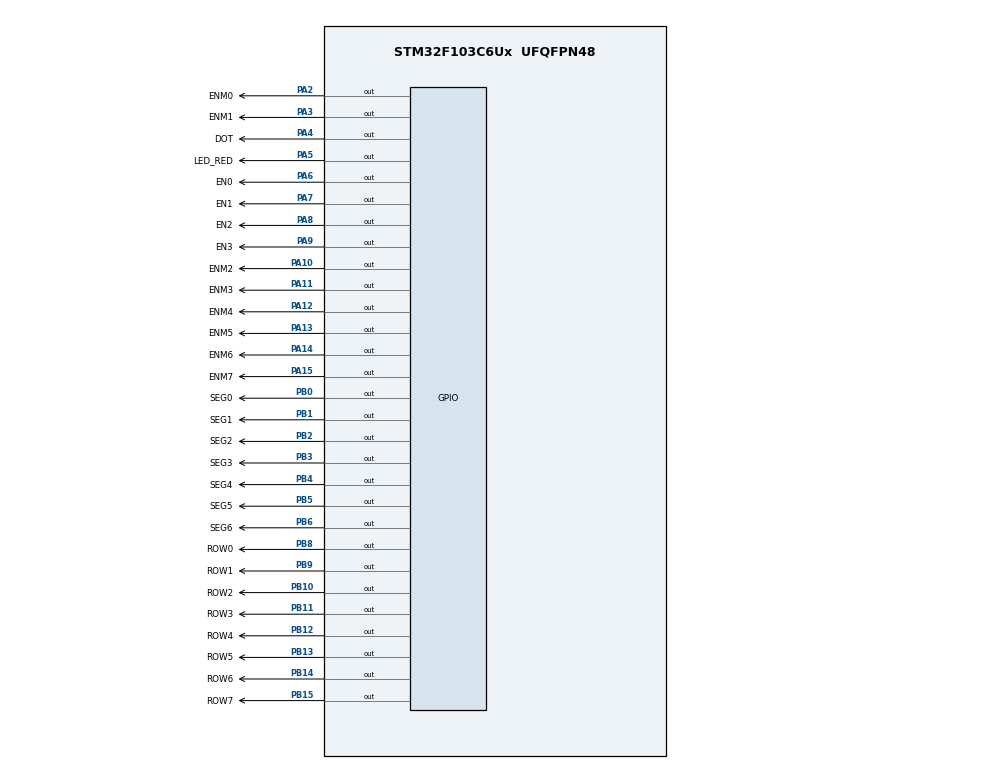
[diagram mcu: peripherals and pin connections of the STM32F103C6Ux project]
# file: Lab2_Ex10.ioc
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Mcu.Family=STM32F1
Mcu.Name=STM32F103C6Ux
Mcu.Package=UFQFPN48
NVIC.PriorityGroup=NVIC_PRIORITYGROUP_4
NVIC.TIM2_IRQn=true\:0\:0\:false\:false\:true\:true\:true
PA10.GPIO_Label=ENM2
PA10.Signal=GPIO_Output
PA11.GPIO_Label=ENM3
PA11.Signal=GPIO_Output
PA12.GPIO_Label=ENM4
PA12.Signal=GPIO_Output
PA13.GPIO_Label=ENM5
PA13.Signal=GPIO_Output
PA14.GPIO_Label=ENM6
PA14.Signal=GPIO_Output
PA15.GPIO_Label=ENM7
PA15.Signal=GPIO_Output
PA2.GPIO_Label=ENM0
PA2.Signal=GPIO_Output
PA3.GPIO_Label=ENM1
PA3.Signal=GPIO_Output
PA4.GPIO_Label=DOT
PA4.Signal=GPIO_Output
PA5.GPIO_Label=LED_RED
PA5.Signal=GPIO_Output
PA6.GPIO_Label=EN0
PA6.Signal=GPIO_Output
PA7.GPIO_Label=EN1
PA7.Signal=GPIO_Output
PA8.GPIO_Label=EN2
PA8.Signal=GPIO_Output
PA9.GPIO_Label=EN3
PA9.Signal=GPIO_Output
PB0.GPIO_Label=SEG0
PB0.Signal=GPIO_Output
PB1.GPIO_Label=SEG1
PB1.Signal=GPIO_Output
PB10.GPIO_Label=ROW2
PB10.Signal=GPIO_Output
PB11.GPIO_Label=ROW3
PB11.Signal=GPIO_Output
PB12.GPIO_Label=ROW4
PB12.Signal=GPIO_Output
PB13.GPIO_Label=ROW5
PB13.Signal=GPIO_Output
PB14.GPIO_Label=ROW6
PB14.Signal=GPIO_Output
PB15.GPIO_Label=ROW7
PB15.Signal=GPIO_Output
PB2.GPIO_Label=SEG2
PB2.Signal=GPIO_Output
PB3.GPIO_Label=SEG3
PB3.Signal=GPIO_Output
PB4.GPIO_Label=SEG4
PB4.Signal=GPIO_Output
PB5.GPIO_Label=SEG5
PB5.Signal=GPIO_Output
PB6.GPIO_Label=SEG6
PB6.Signal=GPIO_Output
PB8.GPIO_Label=ROW0
PB8.Signal=GPIO_Output
PB9.GPIO_Label=ROW1
PB9.Signal=GPIO_Output
ProjectManager.HeapSize=0x200
ProjectManager.StackSize=0x400
ProjectManager.TargetToolchain=STM32CubeIDE
RCC.APB1Freq_Value=8000000
RCC.APB2Freq_Value=8000000
TIM2.Period=9
TIM2.Prescaler=7999
VP_SYS_VS_ND.Mode=No_Debug
VP_TIM2_VS_ClockSourceINT.Mode=Internal
board=custom

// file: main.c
/* USER CODE BEGIN Header */
/**
  ******************************************************************************
  * @file           : main.c
  * @brief          : Main program body
  ******************************************************************************
  * @attention
  *
  * <h2><center>&copy; Copyright (c) 2022 STMicroelectronics.
  * All rights reserved.</center></h2>
  *
  * This software component is licensed by ST under BSD 3-Clause license,
  * the "License"; You may not use this file except in compliance with the
  * License. You may obtain a copy of the License at:
  *                        opensource.org/licenses/BSD-3-Clause
  *
  ******************************************************************************
  */
/* USER CODE END Header */
#include "main.h"

TIM_HandleTypeDef htim2;

void SystemClock_Config(void);
static void MX_TIM2_Init(void);
static void MX_GPIO_Init(void);

/* USER CODE BEGIN 0 */
int TIMER_CYCLE = 10;

int timer0_counter = 0;
int timer0_flag = 0;
int timer1_counter = 0;
int timer1_flag = 0;

void setTimer0 ( int duration ) {
	timer0_counter = duration / TIMER_CYCLE ;
	timer0_flag = 0;
}
void setTimer1 ( int duration ) {
	timer1_counter = duration / TIMER_CYCLE ;
	timer1_flag = 0;
}
void timer_run () {
	if( timer0_counter > 0) {
		timer0_counter--;
		if( timer0_counter == 0) timer0_flag = 1;
	}
	if( timer1_counter > 0) {
		timer1_counter--;
		if( timer1_counter == 0) timer1_flag = 1;
	}
}

const int MAX_LED_MATRIX = 8;
int index_led_matrix = 0;

unsigned matrix_buffer[8] = {0xFFFF,0x31FF,0x13FF,0xC0FF,0xC0FF,0x13FF,0x23FF,0xFFFF};
int subIndex = 0;
	void updateLEDMatrix(int index ) {
		switch ( index ) {
		case 0:
			HAL_GPIO_WritePin(ENM1_GPIO_Port, ENM1_Pin, SET);
			HAL_GPIO_WritePin(ENM2_GPIO_Port, ENM2_Pin, SET);
			HAL_GPIO_WritePin(ENM3_GPIO_Port, ENM3_Pin, SET);
			HAL_GPIO_WritePin(ENM4_GPIO_Port, ENM4_Pin, SET);
			HAL_GPIO_WritePin(ENM5_GPIO_Port, ENM5_Pin, SET);
			HAL_GPIO_WritePin(ENM6_GPIO_Port, ENM6_Pin, SET);
			HAL_GPIO_WritePin(ENM7_GPIO_Port, ENM7_Pin, SET);
			HAL_GPIO_WritePin(ENM0_GPIO_Port, ENM0_Pin, RESET);
			GPIOB->ODR = matrix_buffer[(index + subIndex)%8];
			break;
		case 1:
			HAL_GPIO_WritePin(ENM0_GPIO_Port, ENM0_Pin, SET);
			HAL_GPIO_WritePin(ENM1_GPIO_Port, ENM1_Pin, RESET);
			GPIOB->ODR = matrix_buffer[(index + subIndex)%8];
			break;
		case 2:
			HAL_GPIO_WritePin(ENM1_GPIO_Port, ENM1_Pin, SET);
			HAL_GPIO_WritePin(ENM2_GPIO_Port, ENM2_Pin, RESET);
			GPIOB->ODR = matrix_buffer[(index + subIndex)%8];
			break;
		case 3:
			HAL_GPIO_WritePin(ENM2_GPIO_Port, ENM2_Pin, SET);
			HAL_GPIO_WritePin(ENM3_GPIO_Port, ENM3_Pin, RESET);
			GPIOB->ODR = matrix_buffer[(index + subIndex)%8];
			break;
		case 4:
			HAL_GPIO_WritePin(ENM3_GPIO_Port, ENM3_Pin, SET);
			HAL_GPIO_WritePin(ENM4_GPIO_Port, ENM4_Pin, RESET);
			GPIOB->ODR = matrix_buffer[(index + subIndex)%8];
			break;
		case 5:
			HAL_GPIO_WritePin(ENM4_GPIO_Port, ENM4_Pin, SET);
			HAL_GPIO_WritePin(ENM5_GPIO_Port, ENM5_Pin, RESET);
			GPIOB->ODR = matrix_buffer[(index + subIndex)%8];
			break;
		case 6:
			HAL_GPIO_WritePin(ENM5_GPIO_Port, ENM5_Pin, SET);
			HAL_GPIO_WritePin(ENM6_GPIO_Port, ENM6_Pin, RESET);
			GPIOB->ODR = matrix_buffer[(index + subIndex)%8];
			break;
		case 7:
			HAL_GPIO_WritePin(ENM6_GPIO_Port, ENM6_Pin, SET);
			HAL_GPIO_WritePin(ENM7_GPIO_Port, ENM7_Pin, RESET);
			GPIOB->ODR = matrix_buffer[(index + subIndex)%8];
			break;
		default :
			break ;
		}
	}
/* USER CODE END 0 */

int main(void)
{

  /* MCU Configuration--------------------------------------------------------*/

  /* Reset of all peripherals, Initializes the Flash interface and the Systick. */
  HAL_Init();

  /* Configure the system clock */
  SystemClock_Config();

  /* Initialize all configured peripherals */
  MX_TIM2_Init();
  MX_GPIO_Init();
  /* USER CODE BEGIN 2 */
  HAL_TIM_Base_Start_IT (& htim2 ) ;
  /* USER CODE END 2 */

  /* Infinite loop */
  /* USER CODE BEGIN WHILE */
  setTimer1(10);
  while (1)
  {
    /* USER CODE END WHILE */
	  updateLEDMatrix(index_led_matrix);
	  if(timer1_flag == 1){
	  	  if(index_led_matrix >= MAX_LED_MATRIX){
	  		  index_led_matrix = 0;
	  		  if(subIndex >= MAX_LED_MATRIX) subIndex = 0;
	  		  else subIndex++;
	  	  }
	  	  else index_led_matrix++;
	  	  setTimer1(10);
	  }
  }
}

void SystemClock_Config(void)
{
  RCC_OscInitTypeDef RCC_OscInitStruct = {0};
  RCC_ClkInitTypeDef RCC_ClkInitStruct = {0};

  /** Initializes the RCC Oscillators according to the specified parameters
  * in the RCC_OscInitTypeDef structure.
  */
  RCC_OscInitStruct.OscillatorType = RCC_OSCILLATORTYPE_HSI;
  RCC_OscInitStruct.HSIState = RCC_HSI_ON;
  RCC_OscInitStruct.HSICalibrationValue = RCC_HSICALIBRATION_DEFAULT;
  RCC_OscInitStruct.PLL.PLLState = RCC_PLL_NONE;
  if (HAL_RCC_OscConfig(&RCC_OscInitStruct) != HAL_OK)
  {
    Error_Handler();
  }
  /** Initializes the CPU, AHB and APB buses clocks
  */
  RCC_ClkInitStruct.ClockType = RCC_CLOCKTYPE_HCLK|RCC_CLOCKTYPE_SYSCLK
                              |RCC_CLOCKTYPE_PCLK1|RCC_CLOCKTYPE_PCLK2;
  RCC_ClkInitStruct.SYSCLKSource = RCC_SYSCLKSOURCE_HSI;
  RCC_ClkInitStruct.AHBCLKDivider = RCC_SYSCLK_DIV1;
  RCC_ClkInitStruct.APB1CLKDivider = RCC_HCLK_DIV1;
  RCC_ClkInitStruct.APB2CLKDivider = RCC_HCLK_DIV1;

  if (HAL_RCC_ClockConfig(&RCC_ClkInitStruct, FLASH_LATENCY_0) != HAL_OK)
  {
    Error_Handler();
  }
}

static void MX_TIM2_Init(void)
{

  TIM_ClockConfigTypeDef sClockSourceConfig = {0};
  TIM_MasterConfigTypeDef sMasterConfig = {0};

  htim2.Instance = TIM2;
  htim2.Init.Prescaler = 7999;
  htim2.Init.CounterMode = TIM_COUNTERMODE_UP;
  htim2.Init.Period = 9;
  htim2.Init.ClockDivision = TIM_CLOCKDIVISION_DIV1;
  htim2.Init.AutoReloadPreload = TIM_AUTORELOAD_PRELOAD_DISABLE;
  if (HAL_TIM_Base_Init(&htim2) != HAL_OK)
  {
    Error_Handler();
  }
  sClockSourceConfig.ClockSource = TIM_CLOCKSOURCE_INTERNAL;
  if (HAL_TIM_ConfigClockSource(&htim2, &sClockSourceConfig) != HAL_OK)
  {
    Error_Handler();
  }
  sMasterConfig.MasterOutputTrigger = TIM_TRGO_RESET;
  sMasterConfig.MasterSlaveMode = TIM_MASTERSLAVEMODE_DISABLE;
  if (HAL_TIMEx_MasterConfigSynchronization(&htim2, &sMasterConfig) != HAL_OK)
  {
    Error_Handler();
  }

}

static void MX_GPIO_Init(void)
{
  GPIO_InitTypeDef GPIO_InitStruct = {0};

  /* GPIO Ports Clock Enable */
  __HAL_RCC_GPIOA_CLK_ENABLE();
  __HAL_RCC_GPIOB_CLK_ENABLE();

  /*Configure GPIO pin Output Level */
  HAL_GPIO_WritePin(GPIOA, ENM0_Pin|ENM1_Pin|DOT_Pin|LED_RED_Pin
                          |EN0_Pin|EN1_Pin|EN2_Pin|EN3_Pin
                          |ENM2_Pin|ENM3_Pin|ENM4_Pin|ENM5_Pin
                          |ENM6_Pin|ENM7_Pin, GPIO_PIN_RESET);

  /*Configure GPIO pin Output Level */
  HAL_GPIO_WritePin(GPIOB, SEG0_Pin|SEG1_Pin|SEG2_Pin|ROW2_Pin
                          |ROW3_Pin|ROW4_Pin|ROW5_Pin|ROW6_Pin
                          |ROW7_Pin|SEG3_Pin|SEG4_Pin|SEG5_Pin
                          |SEG6_Pin|ROW0_Pin|ROW1_Pin, GPIO_PIN_RESET);

  /*Configure GPIO pins : ENM0_Pin ENM1_Pin DOT_Pin LED_RED_Pin
                           EN0_Pin EN1_Pin EN2_Pin EN3_Pin
                           ENM2_Pin ENM3_Pin ENM4_Pin ENM5_Pin
                           ENM6_Pin ENM7_Pin */
  GPIO_InitStruct.Pin = ENM0_Pin|ENM1_Pin|DOT_Pin|LED_RED_Pin
                          |EN0_Pin|EN1_Pin|EN2_Pin|EN3_Pin
                          |ENM2_Pin|ENM3_Pin|ENM4_Pin|ENM5_Pin
                          |ENM6_Pin|ENM7_Pin;
  GPIO_InitStruct.Mode = GPIO_MODE_OUTPUT_PP;
  GPIO_InitStruct.Pull = GPIO_NOPULL;
  GPIO_InitStruct.Speed = GPIO_SPEED_FREQ_LOW;
  HAL_GPIO_Init(GPIOA, &GPIO_InitStruct);

  /*Configure GPIO pins : SEG0_Pin SEG1_Pin SEG2_Pin ROW2_Pin
                           ROW3_Pin ROW4_Pin ROW5_Pin ROW6_Pin
                           ROW7_Pin SEG3_Pin SEG4_Pin SEG5_Pin
                           SEG6_Pin ROW0_Pin ROW1_Pin */
  GPIO_InitStruct.Pin = SEG0_Pin|SEG1_Pin|SEG2_Pin|ROW2_Pin
                          |ROW3_Pin|ROW4_Pin|ROW5_Pin|ROW6_Pin
                          |ROW7_Pin|SEG3_Pin|SEG4_Pin|SEG5_Pin
                          |SEG6_Pin|ROW0_Pin|ROW1_Pin;
  GPIO_InitStruct.Mode = GPIO_MODE_OUTPUT_PP;
  GPIO_InitStruct.Pull = GPIO_NOPULL;
  GPIO_InitStruct.Speed = GPIO_SPEED_FREQ_LOW;
  HAL_GPIO_Init(GPIOB, &GPIO_InitStruct);

}

/* USER CODE BEGIN 4 */
void HAL_TIM_PeriodElapsedCallback ( TIM_HandleTypeDef * htim )
 {
	 timer_run();
 }
/* USER CODE END 4 */

void Error_Handler(void)
{
  __disable_irq();
  while (1)
  {
  }
}

/************************ (C) COPYRIGHT STMicroelectronics *****END OF FILE****/
